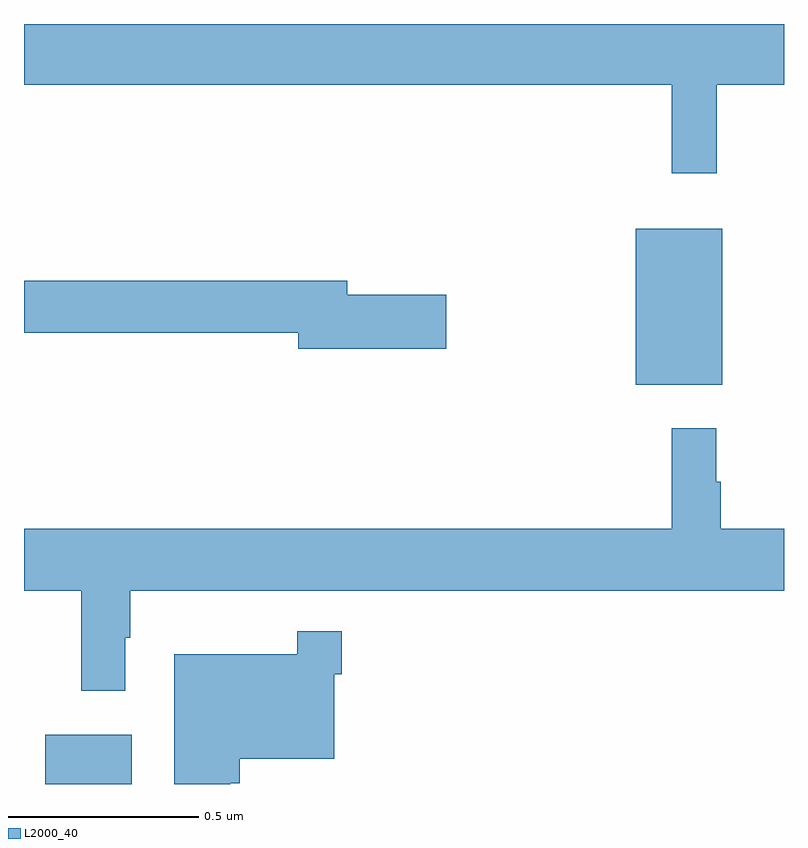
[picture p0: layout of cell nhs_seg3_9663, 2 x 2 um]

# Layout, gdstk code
import gdstk
lib = gdstk.Library(unit=1e-6, precision=1e-09)
def R(c, l, rs):  # rectangles x0, y0, x1, y1
    for r in rs: c.add(gdstk.rectangle(r[:2], r[2:], *l))
def P(c, l, *ps):  # polygons
    for p in ps: c.add(gdstk.Polygon(p, *l))
L2000_40 = (2000, 40)

nhs_seg3_9663 = lib.new_cell('nhs_seg3_9663')
R(nhs_seg3_9663, L2000_40, [(231.056,708.4,231.283,708.529), (232.61,709.451,232.837,709.861)])
P(nhs_seg3_9663, L2000_40, [(232.823,710.24),(233,710.24),(233,710.4),(231,710.4),(231,710.24),(232.705,710.24),(232.705,710.007),(232.823,710.007)],
  [(232.111,709.688),(231.85,709.688),(231.85,709.724),(231,709.724),(231,709.588),(231.722,709.588),(231.722,709.546),(232.111,709.546)],
  [(231.267,708.785),(231.28,708.785),(231.28,708.908),(233,708.908),(233,709.072),(232.834,709.072),(232.834,709.196),(232.822,709.196),(232.822,709.336),(232.705,709.336),(232.705,709.072),(231,709.072),(231,708.908),(231.151,708.908),(231.151,708.645),(231.267,708.645)],
  [(231.543,708.402),(231.568,708.402),(231.568,708.467),(231.816,708.467),(231.816,708.689),(231.836,708.689),(231.836,708.802),(231.719,708.802),(231.719,708.742),(231.395,708.742),(231.395,708.4),(231.543,708.4)])

lib.write_gds('nhs_seg3_9663.gds')
